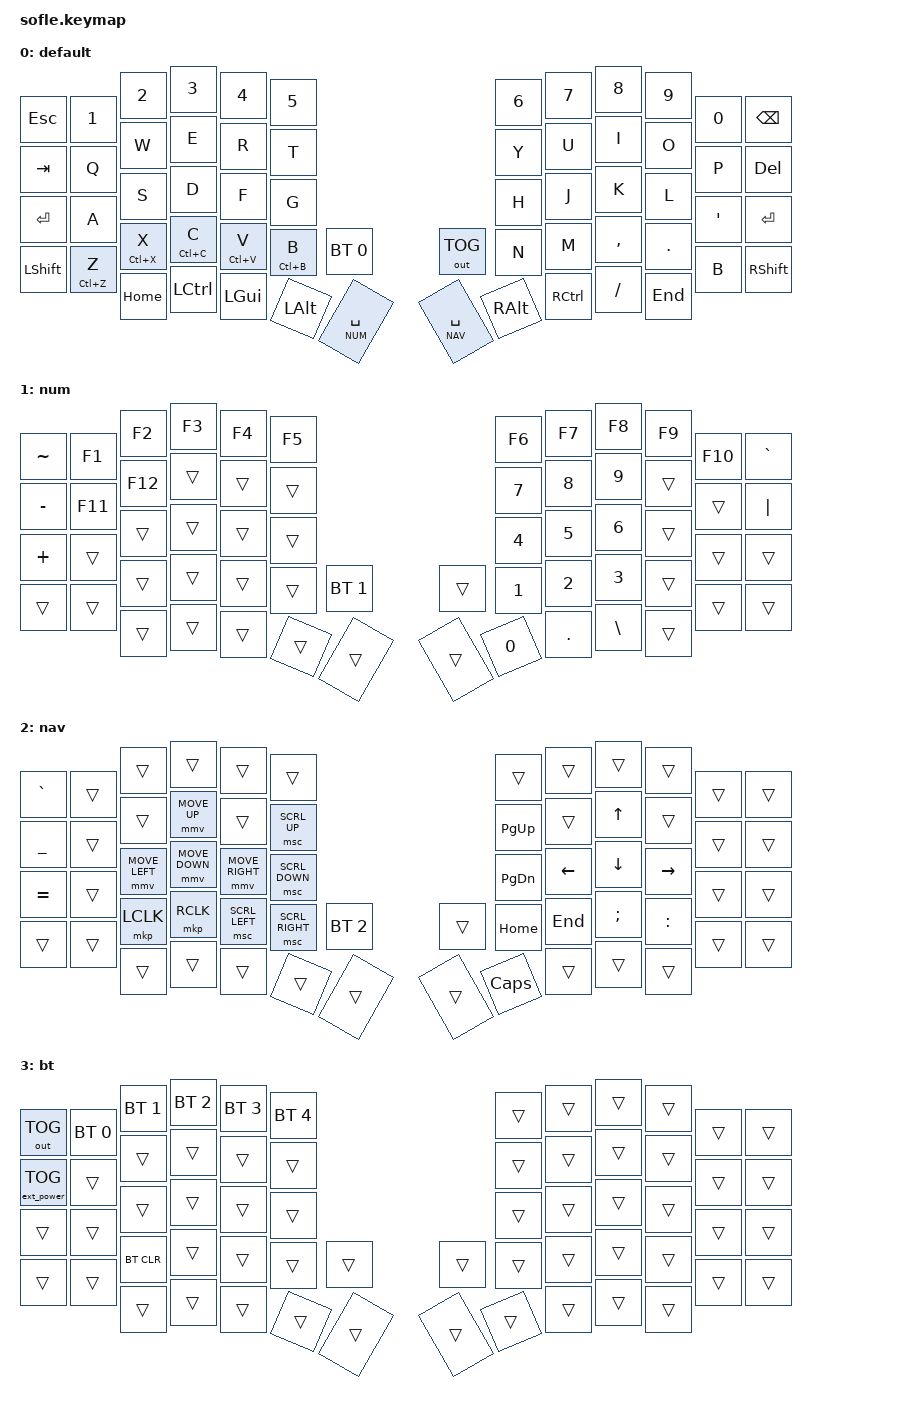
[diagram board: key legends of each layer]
#include <behaviors.dtsi>
#include <dt-bindings/zmk/keys.h>
#include <dt-bindings/zmk/bt.h>
#include <dt-bindings/zmk/outputs.h>
#include <dt-bindings/zmk/ext_power.h>
#include <dt-bindings/zmk/pointing.h>

#define ZMK_POINTING_DEFAULT_MOVE_VAL 900   // default: 600
#define ZMK_POINTING_DEFAULT_SCRL_VAL 20    // default: 10

#define BASE 0
#define NUM 1
#define NAV 2
#define BT 3

#define CB_TIMEOUT 70
#define TD_TIMEOUT 170
#define TIMEOUT 200

/{
conditional_layers {
        compatible = "zmk,conditional-layers";
        adjust_layer {
            if-layers = <NUM NAV>;
            then-layer = <BT>;
        };
};

combos {
        compatible = "zmk,combos";

        combo_lpar {
            timeout-ms = <CB_TIMEOUT>;
            key-positions = <27 28>;   // d f
            bindings = <&kp LPAR>;     // (
            layers = <0>;
        };
        combo_lt {
            timeout-ms = <CB_TIMEOUT>;
            key-positions = <26 27>;   // s d
            bindings = <&kp LT>;     // <
            layers = <0>;
        };
        combo_lbkt {
            timeout-ms = <CB_TIMEOUT>;
            key-positions = <15 16>;   // e r
            bindings = <&kp LBKT>;     // [
            layers = <0>;
        };
        combo_lbrc {
            timeout-ms = <CB_TIMEOUT>;
            key-positions = <14 15>;   // w e
            bindings = <&kp LBRC>;     // {
            layers = <0>;
        };

        combo_rpar {
            timeout-ms = <CB_TIMEOUT>;
           key-positions = <31 32>;    // j k
            bindings = <&kp RPAR>;     // )
            layers = <0>;
        };
        combo_gt {
            timeout-ms = <CB_TIMEOUT>;
           key-positions = <32 33>;    // k l
            bindings = <&kp GT>;     // >
            layers = <0>;
        };
        combo_rbkt {
            timeout-ms = <CB_TIMEOUT>;
            key-positions = <19 20>;   // u i
            bindings = <&kp RBKT>;     // ]
            layers = <0>;
        };

        combo_rbrc {
            timeout-ms = <CB_TIMEOUT>;
            key-positions = <20 21>;   // i o
            bindings = <&kp RBRC>;     // }
            layers = <0>;
        };

        combo_percent {
            timeout-ms = <CB_TIMEOUT>;
            key-positions = <4 5>;   // 4 5
            bindings = <&kp PERCENT>;     // %
            layers = <0>;
        };
};

behaviors {
        // 1. Alt 체크 Mod-Morph: Alt가 눌려있으면 [, 안 눌려있으면 기본 ,
        morph_alt_comma: morph_alt_comma {
            compatible = "zmk,behavior-mod-morph";
            #binding-cells = <0>;
            bindings = <&kp COMMA>, <&kp LBKT>;
            mods = <(MOD_LALT|MOD_RALT)>;
            keep-mods = <0>;
        };

        // 2. Ctrl 체크 Mod-Morph: Ctrl이 눌려있으면 (, 안 눌려있으면 morph_alt_comma 실행
        morph_ctrl_comma: comma_morph {
            compatible = "zmk,behavior-mod-morph";
            #binding-cells = <0>;
            bindings = <&morph_alt_comma>, <&kp LPAR>;
            mods = <(MOD_LCTL|MOD_RCTL)>;
            keep-mods = <0>;
        };

        // 3. Tap-Dance: 1번 누르면 morph_ctrl_comma(Ctrl/Alt 체인), 2번 누르면 ;
        td_comma: tap_dance_comma {
            compatible = "zmk,behavior-tap-dance";
            #binding-cells = <0>;
            tapping-term-ms = <TD_TIMEOUT>;
            bindings = <&morph_ctrl_comma>, <&kp SEMI>;
        };

        // 1. Alt 체크 Mod-Morph: Alt가 눌려있으면 ], 안 눌려있으면 기본 ,
        morph_alt_dot: morph_alt_dot {
            compatible = "zmk,behavior-mod-morph";
            #binding-cells = <0>;
            bindings = <&kp DOT>, <&kp RBKT>;
            mods = <(MOD_LALT|MOD_RALT)>;
            keep-mods = <0>;
        };

        // 2. Ctrl 체크 Mod-Morph: Ctrl이 눌려있으면 ), 안 눌려있으면 morph_alt_dot 실행
        morph_ctrl_dot: comma_dot {
            compatible = "zmk,behavior-mod-morph";
            #binding-cells = <0>;
            bindings = <&morph_alt_dot>, <&kp RPAR>;
            mods = <(MOD_LCTL|MOD_RCTL)>;
        };

        // 3. Tap-Dance: 1번 누르면 morph_ctrl_dot(Ctrl/Alt 체인), 2번 누르면 ;
        td_dot: tap_dance_dot {
            compatible = "zmk,behavior-tap-dance";
            #binding-cells = <0>;
            tapping-term-ms = <TD_TIMEOUT>;
            bindings = <&morph_ctrl_dot>, <&kp COLON>;
        };

        sht_tab_under: morph_sht_tab_under {
            compatible = "zmk,behavior-mod-morph";
            #binding-cells = <0>;
            bindings = <&kp TAB>, <&kp UNDER>;
            mods = <(MOD_LSFT|MOD_RSFT)>;
            keep-mods = <0>;
        };
        sht_ret_equal: morph_sht_ret_equal {
            compatible = "zmk,behavior-mod-morph";
            #binding-cells = <0>;
            bindings = <&kp RET>, <&kp EQUAL>;
            mods = <(MOD_LSFT|MOD_RSFT)>;
            keep-mods = <0>;
        };
        sht_ret_caps: morph_sht_ret_caps {
            compatible = "zmk,behavior-mod-morph";
            #binding-cells = <0>;
            bindings = <&kp RET>, <&kp CAPS>;
            mods = <(MOD_LSFT|MOD_RSFT)>;
            keep-mods = <0>;
        };

        morph_alt_o: morph_alt_o {
            compatible = "zmk,behavior-mod-morph";
            #binding-cells = <0>;
            bindings = <&kp O>, <&kp LBRC>;
            mods = <(MOD_LALT|MOD_RALT)>;
            keep-mods = <0>;
        };

        morph_alt_p: morph_alt_p {
            compatible = "zmk,behavior-mod-morph";
            #binding-cells = <0>;
            bindings = <&kp P>, <&kp RBRC>;
            mods = <(MOD_LALT|MOD_RALT)>;
            keep-mods = <0>;
        };

        mt: mod_tap {
            compatible = "zmk,behavior-hold-tap";
            #binding-cells = <2>;
            flavor = "tap-preferred";
            tapping-term-ms = <TIMEOUT>;
            bindings = <&kp>, <&kp>;
            display-name = "Mod-Tap";
        };

        lt: layer_tap {
            compatible = "zmk,behavior-hold-tap";
            #binding-cells = <2>;
            flavor = "tap-preferred";
            tapping-term-ms = <TIMEOUT>;                // 200
            bindings = <&mo>, <&kp>;
            display-name = "Layer-Tap";
        };

        hm: homerow_mods {
            compatible = "zmk,behavior-hold-tap";
            #binding-cells = <2>;
            flavor = "tap-preferred";
            quick-tap-ms = <CB_TIMEOUT>;                // 100
            require-prior-idle-ms = <TD_TIMEOUT>;       // 170
            tapping-term-ms = <TIMEOUT>;                // 200
            bindings = <&kp>, <&kp>;
        };

        td_punct: tap_dance_punct {
            compatible = "zmk,behavior-tap-dance";
            #binding-cells = <0>;
            tapping-term-ms = <TD_TIMEOUT>;
            bindings = <&mt SEMI COMMA>, <&mt COLON DOT>;
        };

        td_ralt: tap_dance_ralt {
            compatible = "zmk,behavior-tap-dance";
            #binding-cells = <0>;
            tapping-term-ms = <TD_TIMEOUT>;
            bindings = <&kp RALT>, <&kp CAPS>;
        };

        td_rctrl: tap_dance_rctrl {
            compatible = "zmk,behavior-tap-dance";
            #binding-cells = <0>;
            tapping-term-ms = <TD_TIMEOUT>;
            bindings = <&kp RIGHT>, <&kp RCTRL>;
        };
};

keymap {
        compatible = "zmk,keymap";

        default_layer {
                display-name = "default";
                bindings = <

// ╭──────00──────┬──────01──────┬──────02──────┬──────03──────┬──────04──────┬──────05──────┬──────────────╮        ╭────────────┬─────06─────┬─────07─────┬─────08─────┬─────09─────┬─────10─────┬─────11─────╮
     &kp ESC        &kp N1         &kp N2         &kp N3         &kp N4         &kp N5                                              &kp N6       &kp N7       &kp N8       &kp N9       &kp N0       &kp BSPC
// ├──────12──────┼──────13──────┼──────14──────┼──────15──────┼──────16──────┼──────17──────┼──────────────┤        ├────────────┼─────18─────┼─────19─────┼─────20─────┼─────21─────┼─────22─────┼─────23─────┤
     &kp TAB        &kp Q          &kp W          &kp E          &kp R          &kp T                                               &kp Y        &kp U        &kp I        &kp O        &kp P        &kp DEL
// ├──────24──────┼──────25──────┼──────26──────┼──────27──────┼──────28──────┼──────29──────┼──────────────┤        ├────────────┼─────30─────┼─────31─────┼─────32─────┼─────33─────┼─────34─────┼─────35─────┤
     &kp RET        &kp A          &kp S          &kp D          &kp F          &kp G                                               &kp H        &kp J        &kp K        &kp L        &kp SQT      &kp RET
// ├──────36──────┼──────37──────┼──────38──────┼──────39──────┼──────40──────┼──────41──────┼──────42──────┤        ├─────43─────┼─────44─────┼─────45─────┼─────46─────┼─────47─────┼─────48─────┼─────49─────┤
     &kp LSHIFT     &mt LC(Z) Z    &mt LC(X) X    &mt LC(C) C    &mt LC(V) V    &mt LC(B) B    &bt BT_SEL 0           &out OUT_TOG  &kp N        &kp M        &kp COMMA    &kp DOT      &kp B        &kp RSHIFT
// ├──────────────┼──────────────┼──────50──────┼──────51──────┼──────52──────┼──────53──────┼──────54──────┤        ├─────55─────┼─────56─────┼─────57─────┼─────58─────┼─────59─────┼────────────┼────────────┤
                                   &kp HOME       &kp LCTRL      &kp LGUI       &kp LALT      &lt NUM SPACE          &lt NAV SPACE  &kp RALT     &kp RCTRL    &kp FSLH     &kp END
// ╰──────────────┴──────────────┴──────────────┴──────────────┴──────────────┴──────────────┴──────────────╯        ╰────────────┴────────────┴────────────┴────────────┴────────────┴────────────┴────────────╯
                >;
//            sensor-bindings = <&inc_dec_kp C_VOL_UP C_VOL_DN &inc_dec_kp PG_DN PG_UP>;
        };

        num_layer {
            display-name = "num";
            bindings = <
// ╭──────00──────┬──────01──────┬──────02──────┬──────03──────┬──────04──────┬──────05──────┬──────────────╮        ╭────────────┬─────06─────┬─────07─────┬─────08─────┬─────09─────┬─────10─────┬─────11─────╮
     &kp TILDE      &kp F1         &kp F2         &kp F3         &kp F4         &kp F5                                              &kp F6       &kp F7       &kp F8       &kp F9       &kp F10      &kp GRAVE
// ├──────12──────┼──────13──────┼──────14──────┼──────15──────┼──────16──────┼──────17──────┼──────────────┤        ├────────────┼─────18─────┼─────19─────┼─────20─────┼─────21─────┼─────22─────┼─────23─────┤
     &kp MINUS      &kp F11        &kp F12        &trans         &trans         &trans                                              &kp N7       &kp N8       &kp N9       &trans       &trans       &kp PIPE
// ├──────24──────┼──────25──────┼──────26──────┼──────27──────┼──────28──────┼──────29──────┼──────────────┤        ├────────────┼─────30─────┼─────31─────┼─────32─────┼─────33─────┼─────34─────┼─────35─────┤
     &kp PLUS       &trans         &trans         &trans         &trans         &trans                                              &kp N4       &kp N5       &kp N6       &trans       &trans       &trans
// ├──────36──────┼──────37──────┼──────38──────┼──────39──────┼──────40──────┼──────41──────┼──────42──────┤        ├─────43─────┼─────44─────┼─────45─────┼─────46─────┼─────47─────┼─────48─────┼─────49─────┤
     &trans         &trans         &trans         &trans         &trans         &trans         &bt BT_SEL 1            &trans       &kp N1       &kp N2       &kp N3       &trans       &trans       &trans
// ├──────────────┼──────────────┼──────50──────┼──────51──────┼──────52──────┼──────53──────┼──────54──────┤        ├─────55─────┼─────56─────┼─────57─────┼─────58─────┼─────59─────┼────────────┼────────────┤
                                   &trans         &trans         &trans         &trans         &trans                  &trans       &kp N0       &kp DOT      &kp BSLH     &trans
// ╰──────────────┴──────────────┴──────────────┴──────────────┴──────────────┴──────────────┴──────────────╯        ╰────────────┴────────────┴────────────┴────────────┴────────────┴────────────┴────────────╯
            >;
        };

        nav_layer {
            display-name = "nav";
            bindings = <
// ╭──────00──────┬──────01──────┬──────02──────┬──────03──────┬──────04──────┬──────05──────┬──────────────╮        ╭────────────┬─────06─────┬─────07─────┬─────08─────┬─────09─────┬─────10─────┬─────11─────╮
     &kp GRAVE      &trans         &trans         &trans         &trans         &trans                                              &trans       &trans       &trans       &trans       &trans       &trans
// ├──────12──────┼──────13──────┼──────14──────┼──────15──────┼──────16──────┼──────17──────┼──────────────┤        ├────────────┼─────18─────┼─────19─────┼─────20─────┼─────21─────┼─────22─────┼─────23─────┤
     &kp UNDER      &trans        &trans         &mmv MOVE_UP   &trans          &msc SCRL_UP                                        &kp PG_UP    &trans       &kp UP       &trans       &trans       &trans
// ├──────24──────┼──────25──────┼──────26──────┼──────27──────┼──────28──────┼──────29──────┼──────────────┤        ├────────────┼─────30─────┼─────31─────┼─────32─────┼─────33─────┼─────34─────┼─────35─────┤
     &kp EQUAL      &trans        &mmv MOVE_LEFT &mmv MOVE_DOWN &mmv MOVE_RIGHT &msc SCRL_DOWN                                      &kp PG_DN    &kp LEFT     &kp DOWN     &kp RIGHT    &trans       &trans
// ├──────36──────┼──────37──────┼──────38──────┼──────39──────┼──────40──────┼──────41──────┼──────42──────┤        ├─────43─────┼─────44─────┼─────45─────┼─────46─────┼─────47─────┼─────48─────┼─────49─────┤
     &trans         &trans        &mkp LCLK      &mkp RCLK      &msc SCRL_LEFT  &msc SCRL_RIGHT &bt BT_SEL 2           &trans       &kp HOME     &kp END    &kp SEMICOLON  &kp COLON    &trans       &trans
// ├──────────────┼──────────────┼──────50──────┼──────51──────┼──────52──────┼──────53──────┼──────54──────┤        ├─────55─────┼─────56─────┼─────57─────┼─────58─────┼─────59─────┼────────────┼────────────┤
                                   &trans         &trans         &trans         &trans         &trans                  &trans       &kp CAPS     &trans       &trans       &trans
// ╰──────────────┴──────────────┴──────────────┴──────────────┴──────────────┴──────────────┴──────────────╯        ╰────────────┴────────────┴────────────┴────────────┴────────────┴────────────┴────────────╯
            >;
        };
/***************************************************************************************************************************
        nav_layer {
            display-name = "nav";
            bindings = <
// ╭──────00──────┬──────01──────┬──────02──────┬──────03──────┬──────04──────┬──────05──────┬──────────────╮        ╭────────────┬─────06─────┬─────07─────┬─────08─────┬─────09─────┬─────10─────┬─────11─────╮
     &trans         &trans         &trans         &trans         &trans         &trans                                              &trans       &trans       &trans       &trans       &trans       &trans
// ├──────12──────┼──────13──────┼──────14──────┼──────15──────┼──────16──────┼──────17──────┼──────────────┤        ├────────────┼─────18─────┼─────19─────┼─────20─────┼─────21─────┼─────22─────┼─────23─────┤
     &trans         &trans         &trans         &trans         &trans         &trans                                              &kp PG_UP    &trans       &kp UP       &trans       &trans       &trans
// ├──────24──────┼──────25──────┼──────26──────┼──────27──────┼──────28──────┼──────29──────┼──────────────┤        ├────────────┼─────30─────┼─────31─────┼─────32─────┼─────33─────┼─────34─────┼─────35─────┤
     &trans         &trans         &trans         &trans         &trans         &trans                                              &kp PG_DN    &kp LEFT     &kp DOWN     &kp RIGHT    &trans       &trans
// ├──────36──────┼──────37──────┼──────38──────┼──────39──────┼──────40──────┼──────41──────┼──────42──────┤        ├─────43─────┼─────44─────┼─────45─────┼─────46─────┼─────47─────┼─────48─────┼─────49─────┤
     &trans         &trans         &trans         &trans         &trans         &trans         &bt BT_SEL 2            &trans       &kp HOME     &kp END      &trans       &trans       &trans       &trans
// ├──────────────┼──────────────┼──────50──────┼──────51──────┼──────52──────┼──────53──────┼──────54──────┤        ├─────55─────┼─────56─────┼─────57─────┼─────58─────┼─────59─────┼────────────┼────────────┤
                                   &trans         &trans         &trans         &trans         &trans                  &trans       &trans       &trans       &trans       &trans
// ╰──────────────┴──────────────┴──────────────┴──────────────┴──────────────┴──────────────┴──────────────╯        ╰────────────┴────────────┴────────────┴────────────┴────────────┴────────────┴────────────╯
            >;
        };
***************************************************************************************************************************/

        bt_layer {
            display-name = "bt";
            bindings = <
// ╭─────────────┬─────────────┬─────────────┬─────────────┬─────────────┬─────────────┬─────────────╮        ╭─────────────┬─────────────┬─────────────┬─────────────┬─────────────┬─────────────┬─────────────╮
    &out OUT_TOG   &bt BT_SEL 0  &bt BT_SEL 1  &bt BT_SEL 2  &bt BT_SEL 3  &bt BT_SEL 4                                        &trans        &trans        &trans        &trans        &trans        &trans
// ├─────────────┼─────────────┼─────────────┼─────────────┼─────────────┼─────────────┼─────────────┤        ├─────────────┼─────────────┼─────────────┼─────────────┼─────────────┼─────────────┼─────────────┤
 &ext_power EP_TOG &trans        &trans        &trans        &trans        &trans                                              &trans        &trans        &trans        &trans        &trans        &trans
// ├─────────────┼─────────────┼─────────────┼─────────────┼─────────────┼─────────────┼─────────────┤        ├─────────────┼─────────────┼─────────────┼─────────────┼─────────────┼─────────────┼─────────────┤
     &trans        &trans        &trans        &trans        &trans        &trans                                              &trans        &trans        &trans        &trans        &trans        &trans
// ├─────────────┼─────────────┼─────────────┼─────────────┼─────────────┼─────────────┼─────────────┤        ├─────────────┼─────────────┼─────────────┼─────────────┼─────────────┼─────────────┼─────────────┤
     &trans        &trans        &bt BT_CLR    &trans        &trans        &trans        &trans                 &trans         &trans        &trans        &trans        &trans        &trans        &trans
// ├─────────────┼─────────────┼─────────────┼─────────────┼─────────────┼─────────────┼─────────────┤        ├─────────────┼─────────────┼─────────────┼─────────────┼─────────────┼─────────────┼─────────────┤
                                 &trans        &trans        &trans        &trans        &trans                 &trans         &trans        &trans        &trans        &trans
// ╰─────────────┴─────────────┴─────────────┴─────────────┴─────────────┴─────────────┴─────────────╯        ╰─────────────┴─────────────┴─────────────┴─────────────┴─────────────┴─────────────┴─────────────╯
             >;
        };
    };
};
